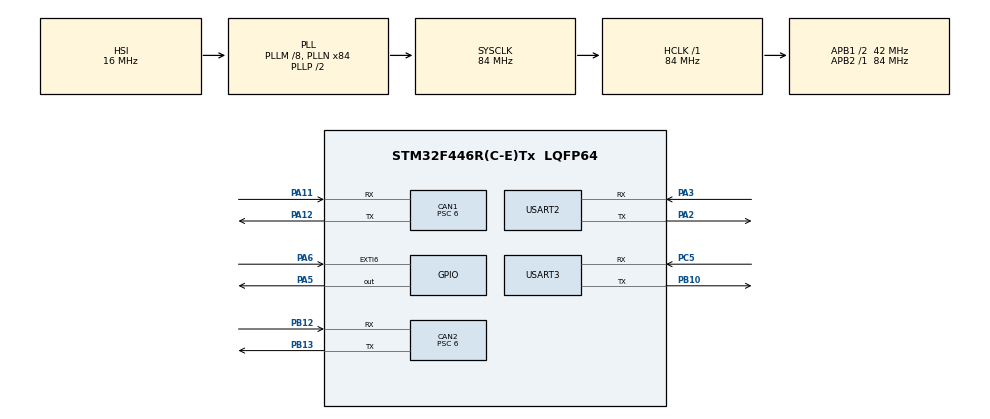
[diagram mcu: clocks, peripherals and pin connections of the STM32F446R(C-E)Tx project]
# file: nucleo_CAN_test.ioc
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CAN1.BS1=CAN_BS1_11TQ
CAN1.BS2=CAN_BS2_2TQ
CAN1.CalculateBaudRate=500000
CAN1.CalculateTimeBit=2000
CAN1.CalculateTimeQuantum=142.85714285714286
CAN1.NART=ENABLE
CAN1.Prescaler=6
CAN2.BS1=CAN_BS1_11TQ
CAN2.BS2=CAN_BS2_2TQ
CAN2.CalculateBaudRate=500000
CAN2.CalculateTimeBit=2000
CAN2.CalculateTimeQuantum=142.85714285714286
CAN2.NART=ENABLE
CAN2.Prescaler=6
Mcu.Family=STM32F4
Mcu.Name=STM32F446R(C-E)Tx
Mcu.Package=LQFP64
NVIC.CAN2_RX0_IRQn=true\:0\:0\:false\:false\:true\:true\:true\:true
NVIC.EXTI9_5_IRQn=true\:0\:0\:false\:false\:true\:true\:true\:true
NVIC.PriorityGroup=NVIC_PRIORITYGROUP_4
PA11.Mode=CAN_Activate
PA11.Signal=CAN1_RX
PA12.Mode=CAN_Activate
PA12.Signal=CAN1_TX
PA2.Mode=Asynchronous
PA2.Signal=USART2_TX
PA3.Mode=Asynchronous
PA3.Signal=USART2_RX
PA5.GPIO_ModeDefaultOutputPP=GPIO_MODE_OUTPUT_PP
PA5.PinState=GPIO_PIN_SET
PA5.Signal=GPIO_Output
PA6.GPIO_PuPd=GPIO_PULLDOWN
PA6.Signal=GPXTI6
PB10.Mode=Asynchronous
PB10.Signal=USART3_TX
PB12.Mode=CAN_Activate
PB12.Signal=CAN2_RX
PB13.Mode=CAN_Activate
PB13.Signal=CAN2_TX
PC5.Mode=Asynchronous
PC5.Signal=USART3_RX
ProjectManager.HeapSize=0x200
ProjectManager.StackSize=0x400
ProjectManager.TargetToolchain=STM32CubeIDE
RCC.AHBFreq_Value=84000000
RCC.APB1CLKDivider=RCC_HCLK_DIV2
RCC.APB1Freq_Value=42000000
RCC.APB1TimFreq_Value=84000000
RCC.APB2Freq_Value=84000000
RCC.APB2TimFreq_Value=84000000
RCC.CortexFreq_Value=84000000
RCC.HCLKFreq_Value=84000000
RCC.PLLM=8
RCC.PLLN=84
RCC.SYSCLKFreq_VALUE=84000000
RCC.SYSCLKSource=RCC_SYSCLKSOURCE_PLLCLK
RCC.USBFreq_Value=84000000
RCC.VCOOutputFreq_Value=168000000
USART2.VirtualMode=VM_ASYNC
USART3.VirtualMode=VM_ASYNC
board=custom

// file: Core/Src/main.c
/* USER CODE BEGIN Header */
/**
 ******************************************************************************
 * @file           : main.c
 * @brief          : Main program body
 ******************************************************************************
 * @attention
 *
 * Copyright (c) 2026 STMicroelectronics.
 * All rights reserved.
 *
 * This software is licensed under terms that can be found in the LICENSE file
 * in the root directory of this software component.
 * If no LICENSE file comes with this software, it is provided AS-IS.
 *
 ******************************************************************************
 */
/* USER CODE END Header */
#include "main.h"

/* USER CODE BEGIN Includes */
#include <stdio.h>
/* USER CODE END Includes */

CAN_HandleTypeDef hcan1;
CAN_HandleTypeDef hcan2;

UART_HandleTypeDef huart2;
UART_HandleTypeDef huart3;

/* USER CODE BEGIN PV */
int btn=0;
/* USER CODE END PV */

void SystemClock_Config(void);
static void MX_GPIO_Init(void);
static void MX_CAN1_Init(void);
static void MX_CAN2_Init(void);
static void MX_USART2_UART_Init(void);
static void MX_USART3_UART_Init(void);

/* USER CODE BEGIN 0 */
// Send printf to uart1
int _write(int fd, char* ptr, int len) {
	HAL_StatusTypeDef hstatus;

	if (fd == 1 || fd == 2) {
		hstatus = HAL_UART_Transmit(&huart2, (uint8_t *) ptr, len, HAL_MAX_DELAY);
		if (hstatus == HAL_OK)
			return len;
		else
			return -1;
	}
	return -1;
}

void HAL_CAN_RxFifo0MsgPendingCallback(CAN_HandleTypeDef *hcan)
{
	if (hcan->Instance == CAN2)
	{
		CAN_RxHeaderTypeDef rxHeader;
		uint8_t rxData[8];

		HAL_CAN_GetRxMessage(hcan,CAN_RX_FIFO0,&rxHeader,rxData);
		printf("ID: 0x%lX DLC:%d Data:%u\r\n", rxHeader.StdId, rxHeader.DLC,rxData[0]);
		HAL_GPIO_TogglePin(GPIOA, GPIO_PIN_5);
	}
}

void CAN1_SendTest(void)
{
	CAN_TxHeaderTypeDef txHeader;
	uint8_t txData[1] = {0x55};
	uint32_t txMailbox;

	txHeader.StdId = 0x123;          // standard ID
	txHeader.ExtId = 0;
	txHeader.IDE   = CAN_ID_STD;
	txHeader.RTR   = CAN_RTR_DATA;
	txHeader.DLC   = 1;
	txHeader.TransmitGlobalTime = DISABLE;

	if(HAL_CAN_AddTxMessage(&hcan1,&txHeader,txData,&txMailbox)!=HAL_OK) printf("error in sending\r\n");

	// optional: error handling

}

void HAL_GPIO_EXTI_Callback(uint16_t GPIO_Pin){
if(GPIO_Pin==GPIO_PIN_6){
	btn=1;
}
}
/* USER CODE END 0 */

int main(void)
{

  /* MCU Configuration--------------------------------------------------------*/

  /* Reset of all peripherals, Initializes the Flash interface and the Systick. */
  HAL_Init();

  /* Configure the system clock */
  SystemClock_Config();

  /* Initialize all configured peripherals */
  MX_GPIO_Init();
  MX_CAN1_Init();
  MX_CAN2_Init();
  MX_USART2_UART_Init();
  MX_USART3_UART_Init();
  /* USER CODE BEGIN 2 */
	// ---------- CAN1 FILTER ----------
	CAN_FilterTypeDef filter1 = {0};
	filter1.FilterBank = 0;                 // OK for CAN1
	filter1.FilterMode = CAN_FILTERMODE_IDMASK;
	filter1.FilterScale = CAN_FILTERSCALE_32BIT;
	filter1.FilterIdHigh = 0x0000;
	filter1.FilterIdLow = 0x0000;
	filter1.FilterMaskIdHigh = 0x0000;
	filter1.FilterMaskIdLow = 0x0000;
	filter1.FilterFIFOAssignment = CAN_RX_FIFO0;
	filter1.FilterActivation = ENABLE;
	filter1.SlaveStartFilterBank = 14;      // IMPORTANT

	HAL_CAN_ConfigFilter(&hcan1, &filter1);

	// ---------- CAN2 FILTER ----------
	CAN_FilterTypeDef filter2 = {0};
	filter2.FilterBank = 14;                // MUST be ≥ 14
	filter2.FilterMode = CAN_FILTERMODE_IDMASK;
	filter2.FilterScale = CAN_FILTERSCALE_32BIT;
	filter2.FilterIdHigh = 0x0000;
	filter2.FilterIdLow = 0x0000;
	filter2.FilterMaskIdHigh = 0x0000;
	filter2.FilterMaskIdLow = 0x0000;
	filter2.FilterFIFOAssignment = CAN_RX_FIFO0;
	filter2.FilterActivation = ENABLE;

	HAL_CAN_ConfigFilter(&hcan2, &filter2);
	HAL_CAN_Start(&hcan1);
	HAL_CAN_Start(&hcan2);
	HAL_CAN_ActivateNotification(&hcan2,CAN_IT_RX_FIFO0_MSG_PENDING);

	uint32_t last=0;

  /* USER CODE END 2 */

  /* Infinite loop */
  /* USER CODE BEGIN WHILE */
	while (1)
	{
		if(HAL_GetTick()-last>=50){
			last=HAL_GetTick();
			CAN1_SendTest();

//			if(btn==1){
//				btn=0;
//				printf("interrupt triggered\r\n");
//			}
		}
    /* USER CODE END WHILE */

	}
}

void SystemClock_Config(void)
{
  RCC_OscInitTypeDef RCC_OscInitStruct = {0};
  RCC_ClkInitTypeDef RCC_ClkInitStruct = {0};

  /** Configure the main internal regulator output voltage
  */
  __HAL_RCC_PWR_CLK_ENABLE();
  __HAL_PWR_VOLTAGESCALING_CONFIG(PWR_REGULATOR_VOLTAGE_SCALE3);

  /** Initializes the RCC Oscillators according to the specified parameters
  * in the RCC_OscInitTypeDef structure.
  */
  RCC_OscInitStruct.OscillatorType = RCC_OSCILLATORTYPE_HSI;
  RCC_OscInitStruct.HSIState = RCC_HSI_ON;
  RCC_OscInitStruct.HSICalibrationValue = RCC_HSICALIBRATION_DEFAULT;
  RCC_OscInitStruct.PLL.PLLState = RCC_PLL_ON;
  RCC_OscInitStruct.PLL.PLLSource = RCC_PLLSOURCE_HSI;
  RCC_OscInitStruct.PLL.PLLM = 8;
  RCC_OscInitStruct.PLL.PLLN = 84;
  RCC_OscInitStruct.PLL.PLLP = RCC_PLLP_DIV2;
  RCC_OscInitStruct.PLL.PLLQ = 2;
  RCC_OscInitStruct.PLL.PLLR = 2;
  if (HAL_RCC_OscConfig(&RCC_OscInitStruct) != HAL_OK)
  {
    Error_Handler();
  }

  /** Initializes the CPU, AHB and APB buses clocks
  */
  RCC_ClkInitStruct.ClockType = RCC_CLOCKTYPE_HCLK|RCC_CLOCKTYPE_SYSCLK
                              |RCC_CLOCKTYPE_PCLK1|RCC_CLOCKTYPE_PCLK2;
  RCC_ClkInitStruct.SYSCLKSource = RCC_SYSCLKSOURCE_PLLCLK;
  RCC_ClkInitStruct.AHBCLKDivider = RCC_SYSCLK_DIV1;
  RCC_ClkInitStruct.APB1CLKDivider = RCC_HCLK_DIV2;
  RCC_ClkInitStruct.APB2CLKDivider = RCC_HCLK_DIV1;

  if (HAL_RCC_ClockConfig(&RCC_ClkInitStruct, FLASH_LATENCY_2) != HAL_OK)
  {
    Error_Handler();
  }
}

static void MX_CAN1_Init(void)
{

  hcan1.Instance = CAN1;
  hcan1.Init.Prescaler = 6;
  hcan1.Init.Mode = CAN_MODE_NORMAL;
  hcan1.Init.SyncJumpWidth = CAN_SJW_1TQ;
  hcan1.Init.TimeSeg1 = CAN_BS1_11TQ;
  hcan1.Init.TimeSeg2 = CAN_BS2_2TQ;
  hcan1.Init.TimeTriggeredMode = DISABLE;
  hcan1.Init.AutoBusOff = DISABLE;
  hcan1.Init.AutoWakeUp = DISABLE;
  hcan1.Init.AutoRetransmission = ENABLE;
  hcan1.Init.ReceiveFifoLocked = DISABLE;
  hcan1.Init.TransmitFifoPriority = DISABLE;
  if (HAL_CAN_Init(&hcan1) != HAL_OK)
  {
    Error_Handler();
  }

}

static void MX_CAN2_Init(void)
{

  hcan2.Instance = CAN2;
  hcan2.Init.Prescaler = 6;
  hcan2.Init.Mode = CAN_MODE_NORMAL;
  hcan2.Init.SyncJumpWidth = CAN_SJW_1TQ;
  hcan2.Init.TimeSeg1 = CAN_BS1_11TQ;
  hcan2.Init.TimeSeg2 = CAN_BS2_2TQ;
  hcan2.Init.TimeTriggeredMode = DISABLE;
  hcan2.Init.AutoBusOff = DISABLE;
  hcan2.Init.AutoWakeUp = DISABLE;
  hcan2.Init.AutoRetransmission = ENABLE;
  hcan2.Init.ReceiveFifoLocked = DISABLE;
  hcan2.Init.TransmitFifoPriority = DISABLE;
  if (HAL_CAN_Init(&hcan2) != HAL_OK)
  {
    Error_Handler();
  }

}

static void MX_USART2_UART_Init(void)
{

  huart2.Instance = USART2;
  huart2.Init.BaudRate = 115200;
  huart2.Init.WordLength = UART_WORDLENGTH_8B;
  huart2.Init.StopBits = UART_STOPBITS_1;
  huart2.Init.Parity = UART_PARITY_NONE;
  huart2.Init.Mode = UART_MODE_TX_RX;
  huart2.Init.HwFlowCtl = UART_HWCONTROL_NONE;
  huart2.Init.OverSampling = UART_OVERSAMPLING_16;
  if (HAL_UART_Init(&huart2) != HAL_OK)
  {
    Error_Handler();
  }

}

static void MX_USART3_UART_Init(void)
{

  huart3.Instance = USART3;
  huart3.Init.BaudRate = 115200;
  huart3.Init.WordLength = UART_WORDLENGTH_8B;
  huart3.Init.StopBits = UART_STOPBITS_1;
  huart3.Init.Parity = UART_PARITY_NONE;
  huart3.Init.Mode = UART_MODE_TX_RX;
  huart3.Init.HwFlowCtl = UART_HWCONTROL_NONE;
  huart3.Init.OverSampling = UART_OVERSAMPLING_16;
  if (HAL_UART_Init(&huart3) != HAL_OK)
  {
    Error_Handler();
  }

}

static void MX_GPIO_Init(void)
{
  GPIO_InitTypeDef GPIO_InitStruct = {0};

  /* GPIO Ports Clock Enable */
  __HAL_RCC_GPIOA_CLK_ENABLE();
  __HAL_RCC_GPIOC_CLK_ENABLE();
  __HAL_RCC_GPIOB_CLK_ENABLE();

  /*Configure GPIO pin Output Level */
  HAL_GPIO_WritePin(GPIOA, GPIO_PIN_5, GPIO_PIN_SET);

  /*Configure GPIO pin : PA5 */
  GPIO_InitStruct.Pin = GPIO_PIN_5;
  GPIO_InitStruct.Mode = GPIO_MODE_OUTPUT_PP;
  GPIO_InitStruct.Pull = GPIO_NOPULL;
  GPIO_InitStruct.Speed = GPIO_SPEED_FREQ_LOW;
  HAL_GPIO_Init(GPIOA, &GPIO_InitStruct);

  /*Configure GPIO pin : PA6 */
  GPIO_InitStruct.Pin = GPIO_PIN_6;
  GPIO_InitStruct.Mode = GPIO_MODE_IT_RISING;
  GPIO_InitStruct.Pull = GPIO_PULLDOWN;
  HAL_GPIO_Init(GPIOA, &GPIO_InitStruct);

  /* EXTI interrupt init*/
  HAL_NVIC_SetPriority(EXTI9_5_IRQn, 0, 0);
  HAL_NVIC_EnableIRQ(EXTI9_5_IRQn);

}

void Error_Handler(void)
{
	__disable_irq();
	while (1)
	{
	}
}
